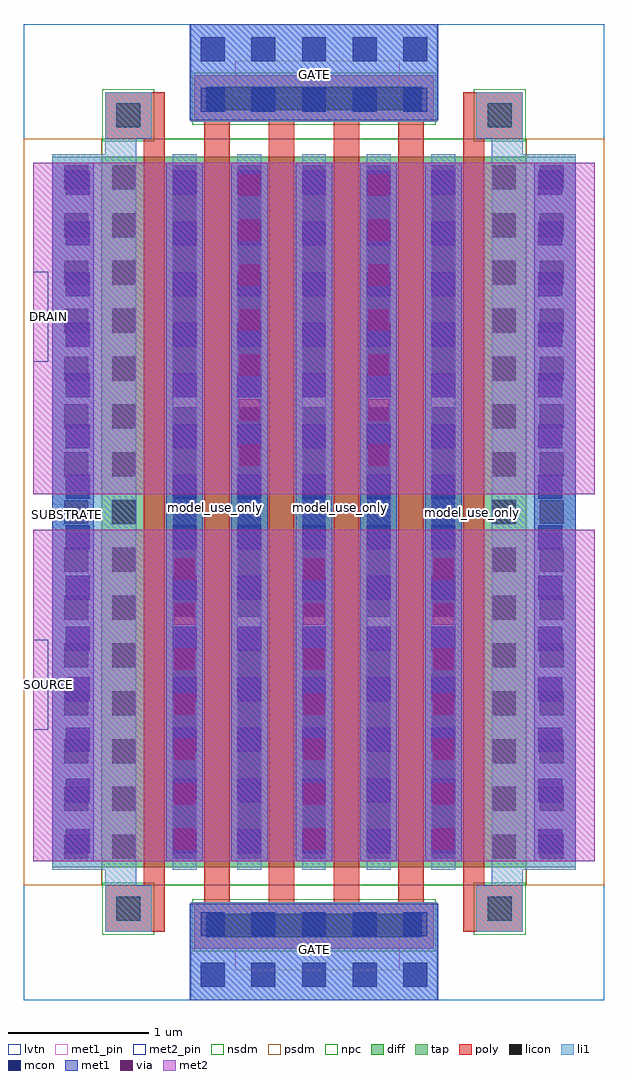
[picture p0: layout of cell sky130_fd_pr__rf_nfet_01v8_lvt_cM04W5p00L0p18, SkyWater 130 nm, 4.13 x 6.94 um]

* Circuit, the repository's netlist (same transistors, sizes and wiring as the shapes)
* Copyright 2020 The SkyWater PDK Authors
*
* Licensed under the Apache License, Version 2.0 (the "License");
* you may not use this file except in compliance with the License.
* You may obtain a copy of the License at
*
*     https://www.apache.org/licenses/LICENSE-2.0
*
* Unless required by applicable law or agreed to in writing, software
* distributed under the License is distributed on an "AS IS" BASIS,
* WITHOUT WARRANTIES OR CONDITIONS OF ANY KIND, either express or implied.
* See the License for the specific language governing permissions and
* limitations under the License.
*
* SPDX-License-Identifier: Apache-2.0


.subckt sky130_fd_pr__rf_nfet_01v8_lvt_cM04W5p00L0p18 DRAIN GATE SOURCE SUBSTRATE
X0 SOURCE GATE DRAIN SUBSTRATE sky130_fd_pr__nfet_01v8_lvt w=5.05e+06u l=180000u
X1 SOURCE SUBSTRATE SUBSTRATE SUBSTRATE sky130_fd_pr__nfet_01v8_lvt w=5.05e+06u l=150000u
X2 DRAIN GATE SOURCE SUBSTRATE sky130_fd_pr__nfet_01v8_lvt w=5.05e+06u l=180000u
X3 DRAIN GATE SOURCE SUBSTRATE sky130_fd_pr__nfet_01v8_lvt w=5.05e+06u l=180000u
X4 SUBSTRATE SUBSTRATE SOURCE SUBSTRATE sky130_fd_pr__nfet_01v8_lvt w=5.05e+06u l=150000u
X5 SOURCE GATE DRAIN SUBSTRATE sky130_fd_pr__nfet_01v8_lvt w=5.05e+06u l=180000u
.ends

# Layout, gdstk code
import gdstk
lib = gdstk.Library(unit=1e-6, precision=1e-09)
def R(c, l, rs):  # rectangles x0, y0, x1, y1
    for r in rs: c.add(gdstk.rectangle(r[:2], r[2:], *l))
def A(c, l, x, y, w, h, nx, ny, dx, dy):  # array of equal rectangles
    R(c, l, [(x+i*dx, y+j*dy, x+i*dx+w, y+j*dy+h) for i in range(nx) for j in range(ny)])
diff = (65, 20)
tap = (65, 44)
poly = (66, 20)
licon = (66, 44)
li1 = (67, 20)
mcon = (67, 44)
met1_pin = (68, 16)
met1 = (68, 20)
via = (68, 44)
met2_pin = (69, 16)
met2 = (69, 20)
nsdm = (93, 44)
psdm = (94, 20)
npc = (95, 20)
lvtn = (125, 44)

sky130_fd_pr__rf_nfet_01 = lib.new_cell('sky130_fd_pr__rf_nfet_01v8_lvt_cM04W5p00L0p18')
R(sky130_fd_pr__rf_nfet_01, diff, [(0.555,0.945,3.575,5.995)])
R(sky130_fd_pr__rf_nfet_01, tap, [(0.205,0.945,0.555,5.995), (3.575,0.945,3.925,5.995)])
A(sky130_fd_pr__rf_nfet_01, poly, 1.285, 0.695, 0.18, 5.55, 4, 1, 0.46, 0)
R(sky130_fd_pr__rf_nfet_01, poly, [(1.215,0.365,2.915,0.695), (0.58,0.485,0.91,0.815), (0.855,0.485,1.005,6.455), (3.125,0.485,3.275,6.455), (3.22,0.485,3.55,0.815), (0.58,6.125,0.91,6.455), (3.22,6.125,3.55,6.455), (1.215,6.245,2.915,6.575)])
A(sky130_fd_pr__rf_nfet_01, licon, 0.29, 1.005, 0.17, 0.17, 1, 15, 0, 0.34)
A(sky130_fd_pr__rf_nfet_01, licon, 0.63, 1.005, 0.17, 0.17, 1, 15, 0, 0.34)
A(sky130_fd_pr__rf_nfet_01, licon, 1.06, 1.005, 0.17, 1.49, 5, 3, 0.46, 1.72)
A(sky130_fd_pr__rf_nfet_01, licon, 3.33, 1.005, 0.17, 0.17, 1, 15, 0, 0.34)
A(sky130_fd_pr__rf_nfet_01, licon, 3.67, 1.005, 0.17, 0.17, 1, 15, 0, 0.34)
R(sky130_fd_pr__rf_nfet_01, licon, [(1.3,0.445,2.83,0.615), (0.66,0.565,0.83,0.735), (3.3,0.565,3.47,0.735), (0.66,6.205,0.83,6.375), (3.3,6.205,3.47,6.375), (1.3,6.325,2.83,6.495)])
A(sky130_fd_pr__rf_nfet_01, li1, 1.06, 0.925, 0.17, 5.09, 5, 1, 0.46, 0)
A(sky130_fd_pr__rf_nfet_01, li1, 1.06, 2.125, 0.17, 2.69, 5, 1, 0.46, 0)
R(sky130_fd_pr__rf_nfet_01, li1, [(1.19,0,2.94,0.695), (0.58,0.485,0.91,0.815), (3.22,0.485,3.55,0.815), (0.58,0.815,0.8,0.925), (3.33,0.815,3.55,0.925), (0.205,0.925,0.8,6.015), (3.33,0.925,3.925,6.015), (0.32,1.045,0.49,5.895), (3.64,1.045,3.81,5.895), (0.58,6.015,0.8,6.125), (3.33,6.015,3.55,6.125), (0.58,6.125,0.91,6.455), (3.22,6.125,3.55,6.455), (1.19,6.245,2.94,6.94)])
A(sky130_fd_pr__rf_nfet_01, mcon, 1.26, 0.095, 0.17, 0.17, 5, 2, 0.36, 0.36)
A(sky130_fd_pr__rf_nfet_01, mcon, 0.3, 1.045, 0.17, 0.17, 1, 14, 0, 0.36)
A(sky130_fd_pr__rf_nfet_01, mcon, 1.06, 1.045, 0.17, 0.17, 5, 14, 0.46, 0.36)
A(sky130_fd_pr__rf_nfet_01, mcon, 3.66, 1.045, 0.17, 0.17, 1, 14, 0, 0.36)
A(sky130_fd_pr__rf_nfet_01, mcon, 1.26, 6.315, 0.17, 0.17, 5, 2, 0.36, 0.36)
R(sky130_fd_pr__rf_nfet_01, met1_pin, [(1.505,0.21,2.675,0.46), (0.205,3.375,0.5,3.525), (3.63,3.415,3.925,3.565), (1.505,6.43,2.675,6.68)])
A(sky130_fd_pr__rf_nfet_01, met1, 1.015, 0.985, 0.26, 2.24, 3, 1, 0.92, 0)
A(sky130_fd_pr__rf_nfet_01, met1, 1.015, 0.985, 0.26, 4.97, 5, 1, 0.46, 0)
R(sky130_fd_pr__rf_nfet_01, met1, [(1.18,0,2.95,0.685), (0.205,0.985,0.5,5.955), (3.63,0.985,3.925,5.955), (1.475,3.715,1.735,5.955), (2.395,3.715,2.655,5.955), (1.18,6.255,2.95,6.94)])
A(sky130_fd_pr__rf_nfet_01, via, 1.07, 1.07, 0.15, 0.15, 3, 7, 0.92, 0.32)
A(sky130_fd_pr__rf_nfet_01, via, 1.53, 3.8, 0.15, 0.15, 1, 7, 0, 0.32)
A(sky130_fd_pr__rf_nfet_01, via, 2.45, 3.8, 0.15, 0.15, 1, 7, 0, 0.32)
R(sky130_fd_pr__rf_nfet_01, met2_pin, [(0.07,1.92,0.175,2.56), (0.07,4.54,0.175,5.18)])
A(sky130_fd_pr__rf_nfet_01, met2, 1.015, 0.985, 0.26, 2.24, 3, 1, 0.92, 0)
R(sky130_fd_pr__rf_nfet_01, met2, [(0.07,0.985,4.06,3.345), (0.07,3.595,4.06,5.955), (1.475,3.715,1.735,5.955), (2.395,3.715,2.655,5.955)])
R(sky130_fd_pr__rf_nfet_01, nsdm, [(0.555,0.815,3.575,6.125)])
R(sky130_fd_pr__rf_nfet_01, psdm, [(0,0.815,0.555,6.125), (3.575,0.815,4.13,6.125)])
R(sky130_fd_pr__rf_nfet_01, npc, [(1.2,0.345,2.93,0.715), (0.56,0.465,0.93,0.835), (3.2,0.465,3.57,0.835), (0.56,6.105,0.93,6.475), (3.2,6.105,3.57,6.475), (1.2,6.225,2.93,6.595)])
R(sky130_fd_pr__rf_nfet_01, lvtn, [(0,0,4.13,6.94)])
sky130_fd_pr__rf_nfet_01.add(gdstk.Label('GATE', (2.065,6.58), layer=68, texttype=5))
sky130_fd_pr__rf_nfet_01.add(gdstk.Label('GATE', (2.065,0.36), layer=68, texttype=5))
sky130_fd_pr__rf_nfet_01.add(gdstk.Label('model_use_only', (1.365,3.505), layer=66, texttype=83))
sky130_fd_pr__rf_nfet_01.add(gdstk.Label('model_use_only', (1.825,3.505), layer=66, texttype=83))
sky130_fd_pr__rf_nfet_01.add(gdstk.Label('model_use_only', (2.255,3.505), layer=66, texttype=83))
sky130_fd_pr__rf_nfet_01.add(gdstk.Label('model_use_only', (2.715,3.505), layer=66, texttype=83))
sky130_fd_pr__rf_nfet_01.add(gdstk.Label('model_use_only', (3.19,3.47), layer=66, texttype=83))
sky130_fd_pr__rf_nfet_01.add(gdstk.Label('model_use_only', (0.915,3.47), layer=66, texttype=83))
sky130_fd_pr__rf_nfet_01.add(gdstk.Label('SUBSTRATE', (0.315,3.455), layer=68, texttype=16))
sky130_fd_pr__rf_nfet_01.add(gdstk.Label('SUBSTRATE', (3.74,3.495), layer=68, texttype=16))
sky130_fd_pr__rf_nfet_01.add(gdstk.Label('dummy_poly', (0.92,3.475), layer=83, texttype=44))
sky130_fd_pr__rf_nfet_01.add(gdstk.Label('dummy_poly', (3.185,3.465), layer=83, texttype=44))
sky130_fd_pr__rf_nfet_01.add(gdstk.Label('D', (1.635,3.47), layer=83, texttype=44))
sky130_fd_pr__rf_nfet_01.add(gdstk.Label('S', (1.205,3.47), layer=83, texttype=44))
sky130_fd_pr__rf_nfet_01.add(gdstk.Label('S', (2.495,3.47), layer=83, texttype=44))
sky130_fd_pr__rf_nfet_01.add(gdstk.Label('S', (2.065,3.47), layer=83, texttype=44))
sky130_fd_pr__rf_nfet_01.add(gdstk.Label('S', (1.635,3.47), layer=83, texttype=44))
sky130_fd_pr__rf_nfet_01.add(gdstk.Label('S', (1.205,3.47), layer=83, texttype=44))
sky130_fd_pr__rf_nfet_01.add(gdstk.Label('S', (2.925,3.47), layer=83, texttype=44))
sky130_fd_pr__rf_nfet_01.add(gdstk.Label('D', (2.495,3.47), layer=83, texttype=44))
sky130_fd_pr__rf_nfet_01.add(gdstk.Label('S', (2.065,3.47), layer=83, texttype=44))
sky130_fd_pr__rf_nfet_01.add(gdstk.Label('SOURCE', (0.175,2.24), layer=69, texttype=5))
sky130_fd_pr__rf_nfet_01.add(gdstk.Label('DRAIN', (0.175,4.86), layer=69, texttype=5))

lib.write_gds('sky130_fd_pr__rf_nfet_01v8_lvt_cM04W5p00L0p18.gds')
